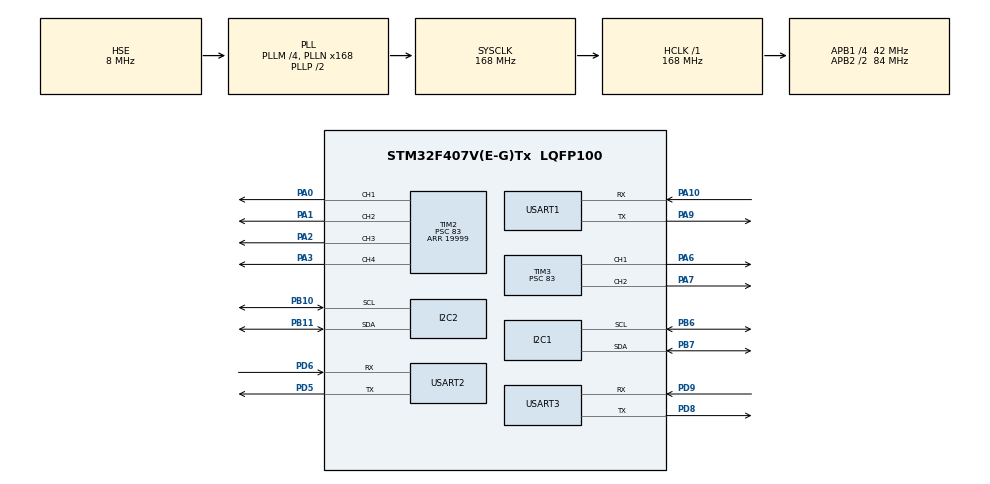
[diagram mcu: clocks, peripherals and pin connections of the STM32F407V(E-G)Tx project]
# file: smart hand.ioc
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FREERTOS.Tasks01=defaultTask,24,128,StartDefaultTask,Default,NULL,Dynamic,NULL,NULL
I2C1.I2C_Mode=I2C_Fast
Mcu.Family=STM32F4
Mcu.Name=STM32F407V(E-G)Tx
Mcu.Package=LQFP100
NVIC.PriorityGroup=NVIC_PRIORITYGROUP_4
NVIC.TIM4_IRQn=true\:15\:0\:false\:false\:true\:false\:false\:true\:true
NVIC.TimeBase=TIM4_IRQn
NVIC.TimeBaseIP=TIM4
PA0-WKUP.Signal=S_TIM2_CH1_ETR
PA1.Signal=S_TIM2_CH2
PA10.Mode=Asynchronous
PA10.Signal=USART1_RX
PA13.Mode=Serial_Wire
PA13.Signal=SYS_JTMS-SWDIO
PA14.Mode=Serial_Wire
PA14.Signal=SYS_JTCK-SWCLK
PA2.Signal=S_TIM2_CH3
PA3.Signal=S_TIM2_CH4
PA6.Signal=S_TIM3_CH1
PA7.Signal=S_TIM3_CH2
PA9.Mode=Asynchronous
PA9.Signal=USART1_TX
PB10.Mode=I2C
PB10.Signal=I2C2_SCL
PB11.Mode=I2C
PB11.Signal=I2C2_SDA
PB6.Mode=I2C
PB6.Signal=I2C1_SCL
PB7.Mode=I2C
PB7.Signal=I2C1_SDA
PC14-OSC32_IN.Mode=LSE-External-Oscillator
PC14-OSC32_IN.Signal=RCC_OSC32_IN
PC15-OSC32_OUT.Mode=LSE-External-Oscillator
PC15-OSC32_OUT.Signal=RCC_OSC32_OUT
PD5.Mode=Asynchronous
PD5.Signal=USART2_TX
PD6.Mode=Asynchronous
PD6.Signal=USART2_RX
PD8.Mode=Asynchronous
PD8.Signal=USART3_TX
PD9.Mode=Asynchronous
PD9.Signal=USART3_RX
PH0-OSC_IN.Mode=HSE-External-Oscillator
PH0-OSC_IN.Signal=RCC_OSC_IN
PH1-OSC_OUT.Mode=HSE-External-Oscillator
PH1-OSC_OUT.Signal=RCC_OSC_OUT
ProjectManager.HeapSize=0x200
ProjectManager.StackSize=0x400
ProjectManager.TargetToolchain=MDK-ARM V5.32
RCC.48MHZClocksFreq_Value=84000000
RCC.AHBFreq_Value=168000000
RCC.APB1CLKDivider=RCC_HCLK_DIV4
RCC.APB1Freq_Value=42000000
RCC.APB1TimFreq_Value=84000000
RCC.APB2CLKDivider=RCC_HCLK_DIV2
RCC.APB2Freq_Value=84000000
RCC.APB2TimFreq_Value=168000000
RCC.CortexFreq_Value=168000000
RCC.HCLKFreq_Value=168000000
RCC.HSE_VALUE=8000000
RCC.HSI_VALUE=16000000
RCC.PLLM=4
RCC.PLLN=168
RCC.PLLSourceVirtual=RCC_PLLSOURCE_HSE
RCC.SYSCLKFreq_VALUE=168000000
RCC.SYSCLKSource=RCC_SYSCLKSOURCE_PLLCLK
RCC.VCOOutputFreq_Value=336000000
SH.S_TIM2_CH1_ETR.0=TIM2_CH1,PWM Generation1 CH1
SH.S_TIM2_CH2.0=TIM2_CH2,PWM Generation2 CH2
SH.S_TIM2_CH3.0=TIM2_CH3,PWM Generation3 CH3
SH.S_TIM2_CH4.0=TIM2_CH4,PWM Generation4 CH4
SH.S_TIM3_CH1.0=TIM3_CH1,PWM Generation1 CH1
SH.S_TIM3_CH2.0=TIM3_CH2,PWM Generation2 CH2
TIM2.Channel-PWM\ Generation1\ CH1=TIM_CHANNEL_1
TIM2.Channel-PWM\ Generation2\ CH2=TIM_CHANNEL_2
TIM2.Channel-PWM\ Generation3\ CH3=TIM_CHANNEL_3
TIM2.Channel-PWM\ Generation4\ CH4=TIM_CHANNEL_4
TIM2.Period=19999
TIM2.Prescaler=83
TIM2.Pulse-PWM\ Generation1\ CH1=1500
TIM2.Pulse-PWM\ Generation2\ CH2=1500
TIM2.Pulse-PWM\ Generation3\ CH3=1500
TIM2.Pulse-PWM\ Generation4\ CH4=1500
TIM3.Channel-PWM\ Generation1\ CH1=TIM_CHANNEL_1
TIM3.Channel-PWM\ Generation2\ CH2=TIM_CHANNEL_2
TIM3.Period=19999
TIM3.Prescaler=83
TIM3.Pulse-PWM\ Generation1\ CH1=1500
TIM3.Pulse-PWM\ Generation2\ CH2=1500
USART1.VirtualMode=VM_ASYNC
USART2.VirtualMode=VM_ASYNC
USART3.VirtualMode=VM_ASYNC
VP_FREERTOS_VS_CMSIS_V2.Mode=CMSIS_V2
VP_SYS_VS_tim4.Mode=TIM4
VP_TIM2_VS_ClockSourceINT.Mode=Internal
VP_TIM3_VS_ClockSourceINT.Mode=Internal
board=custom

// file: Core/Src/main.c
/* USER CODE BEGIN Header */
/**
 ******************************************************************************
 * @file           : main.c
 * @brief          : 六轴机械臂主程序（STM32F407VET6 + FreeRTOS/CMSIS-RTOS2）
 ******************************************************************************
 * 结构：初始化在本文件里一次做完，之后交给 freertos.c 里的四个任务：
 *
 *   每 5ms   netTask      NetLink_Poll()        解析 ESP32-S3 发来的串口命令
 *   每 20ms  gestureTask  MPU6050_GestureStep() 读姿态并换算成目标角度（远程模式自动跳过）
 *   每 20ms  armTask      RobotArm_Update()     梯形速度插值 → 写 CCR → PWM
 *   每 100ms oledTask     OLED_StatusTask()     刷状态屏（链路/模式/角度/姿态）
 *
 * 上电顺序：串口 → OLED → 六路 PWM 分时软启动 + 回中位(1.5s) → MPU6050 校准
 *           （传感器没接时会每秒重试，期间机械臂照常接受网络命令）
 ******************************************************************************
 */
/* USER CODE END Header */
#include "main.h"
#include "cmsis_os.h"
#include "i2c.h"
#include "tim.h"
#include "usart.h"
#include "gpio.h"

/* USER CODE BEGIN Includes */
#include "RobotArm.h"
#include "MPU6050.h"
#include "NetLink.h"
#include "OLED.h"
#include "Param.h"
#include "Backup.h"
/* USER CODE END Includes */

void SystemClock_Config(void);
void MX_FREERTOS_Init(void);

int main(void) {
    /* USER CODE BEGIN 1 */
    /* IAP：应用被引导程序拷到 0x08010000，中断向量表必须跟着搬。
       这一行要放在 HAL_Init() 之前（HAL_Init 里会开中断），否则第一次中断会跳到引导程序的向量。 */
    SCB->VTOR = 0x08010000U;

    /* USER CODE END 1 */

    /* MCU Configuration--------------------------------------------------------*/

    /* Reset of all peripherals, Initializes the Flash interface and the Systick. */
    HAL_Init();

    /* Configure the system clock */
    SystemClock_Config();

    /* Initialize all configured peripherals */
    MX_GPIO_Init();
    MX_TIM3_Init();
    MX_I2C2_Init();
    MX_TIM2_Init();
    MX_USART1_UART_Init();
    MX_USART2_UART_Init();
    MX_USART3_UART_Init();
    MX_I2C1_Init();
    /* USER CODE BEGIN 2 */

    /* 0. 串口链路（ESP32-S3）：USART1 异步 115200 + DMA2_Stream2 循环接收。
     *    先开它，这样即使后面回中位要 2 秒多，上位机发的命令也不会丢（DMA 缓冲着）。 */
    NetLink_Init();

    /* 0.5 OLED 状态屏（I2C1，PB6/PB7）：屏没接也不影响机械臂，只是不显示 */
    (void)OLED_Init();

    /* 0.8 从板载 W25Q16 读回标定表/速度（没有芯片或数据无效就用默认值，
     *     不影响后续流程）。放在 RobotArm_Init 之前，这样回中位就已经按标定走。 */
    (void)Param_Init();

    /* 0.9 固件备份区（W25Q16）：读备份头，供"新固件起不来就回滚"用。
     *     没插芯片时返回 1，健康印章照样会盖（只是没法回滚），其余功能不受影响。 */
    (void)Backup_Init();

    /* 1. 六路 PWM 分时软启动（每路间隔 200ms，避免 6 个舵机同时启动的冲击电流）
     * 2. 在 1.5s 内线性插值把六轴送回中位 90°（阻塞，走完才继续） */
    RobotArm_Init();

    /* 3. MPU6050 初始化 + 陀螺零偏校准（约 0.4s，此时传感器要静止）
     * 4. 把当前姿势记为体感中位基准（约 0.2s，期间不要动）+ 夹爪张开
     * 传感器没接好时每秒重试一次，期间照常响应网络命令（不会死机跑飞） */
    while (MPU6050_GestureInit() != 0) {
        uint8_t k;

        /* 约 1s，期间保持 20ms 拍子服务网络命令 */
        for (k = 0; k < 50U; k++) {
            NetLink_Poll();
            RobotArm_Update();
            HAL_Delay(20);
        }
    }

    /* 丢掉启动期间积压的串口数据，从干净状态开始解析 */
    NetLink_Flush();
    /* USER CODE END 2 */

    /* Init scheduler */
    osKernelInitialize(); /* Call init function for freertos objects (in cmsis_os2.c) */
    MX_FREERTOS_Init();

    /* Start scheduler */
    osKernelStart();

    /* We should never get here as control is now taken by the scheduler */

    /* Infinite loop */
    while (1) {

        /* USER CODE BEGIN 3 */
        /* 调度器已经接管：这里永远不会执行到。
         * 四个任务的节拍在 freertos.c 里（5ms/20ms/20ms/100ms）。 */
        osDelay(1000);
    }
    /* USER CODE END 3 */
}

void SystemClock_Config(void) {
    RCC_OscInitTypeDef RCC_OscInitStruct = {0};
    RCC_ClkInitTypeDef RCC_ClkInitStruct = {0};

    /** Configure the main internal regulator output voltage
     */
    __HAL_RCC_PWR_CLK_ENABLE();
    __HAL_PWR_VOLTAGESCALING_CONFIG(PWR_REGULATOR_VOLTAGE_SCALE1);

    /** Initializes the RCC Oscillators according to the specified parameters
     * in the RCC_OscInitTypeDef structure.
     */
    RCC_OscInitStruct.OscillatorType = RCC_OSCILLATORTYPE_HSE;
    RCC_OscInitStruct.HSEState = RCC_HSE_ON;
    RCC_OscInitStruct.PLL.PLLState = RCC_PLL_ON;
    RCC_OscInitStruct.PLL.PLLSource = RCC_PLLSOURCE_HSE;
    RCC_OscInitStruct.PLL.PLLM = 4;
    RCC_OscInitStruct.PLL.PLLN = 168;
    RCC_OscInitStruct.PLL.PLLP = RCC_PLLP_DIV2;
    RCC_OscInitStruct.PLL.PLLQ = 4;
    if (HAL_RCC_OscConfig(&RCC_OscInitStruct) != HAL_OK) {
        Error_Handler();
    }

    /** Initializes the CPU, AHB and APB buses clocks
     */
    RCC_ClkInitStruct.ClockType =
        RCC_CLOCKTYPE_HCLK | RCC_CLOCKTYPE_SYSCLK | RCC_CLOCKTYPE_PCLK1 | RCC_CLOCKTYPE_PCLK2;
    RCC_ClkInitStruct.SYSCLKSource = RCC_SYSCLKSOURCE_PLLCLK;
    RCC_ClkInitStruct.AHBCLKDivider = RCC_SYSCLK_DIV1;
    RCC_ClkInitStruct.APB1CLKDivider = RCC_HCLK_DIV4;
    RCC_ClkInitStruct.APB2CLKDivider = RCC_HCLK_DIV2;

    if (HAL_RCC_ClockConfig(&RCC_ClkInitStruct, FLASH_LATENCY_5) != HAL_OK) {
        Error_Handler();
    }
}

void HAL_TIM_PeriodElapsedCallback(TIM_HandleTypeDef *htim) {
    if (htim->Instance == TIM4) {
        HAL_IncTick();
    }
}

void Error_Handler(void) {
    __disable_irq();
    while (1) {
    }
}

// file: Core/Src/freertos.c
/* USER CODE BEGIN Header */
/**
 ******************************************************************************
 * File Name          : freertos.c
 * Description        : Code for freertos applications
 ******************************************************************************
 * @attention
 *
 * Copyright (c) 2026 STMicroelectronics.
 * All rights reserved.
 *
 * This software is licensed under terms that can be found in the LICENSE file
 * in the root directory of this software component.
 * If no LICENSE file comes with this software, it is provided AS-IS.
 *
 ******************************************************************************
 */
/* USER CODE END Header */

#include "FreeRTOS.h"
#include "task.h"
#include "main.h"
#include "cmsis_os.h"

/* USER CODE BEGIN Includes */
#include "RobotArm.h"
#include "MPU6050.h"
#include "NetLink.h"
#include "OLED.h"
#include "Watchdog.h"
#include "Backup.h"
/* USER CODE END Includes */

/* USER CODE BEGIN PD */
#define ARM_TASK_PERIOD_MS ROBOTARM_TICK_MS /* 10ms：PWM 插值硬节拍（100Hz） */
#define GESTURE_TASK_PERIOD_MS 20U          /* 50Hz：体感采样 */
#define NET_TASK_PERIOD_MS 5U               /* 串口命令解析：5ms 一拍，命令下发更跟手 */
#define OLED_TASK_PERIOD_MS 100U            /* 10Hz：状态画面刷新 */

#define ARM_TASK_STACK 192U     /* 单位：字（4 字节） */
#define GESTURE_TASK_STACK 384U /* 浮点解算 + HAL I2C，留足余量 */
#define NET_TASK_STACK 384U
#define OLED_TASK_STACK 320U /* vsnprintf + 1KB 显存操作 */
/* USER CODE END PD */

/* USER CODE BEGIN Variables */
/* ---- 四个应用任务 ----
 * armTask     ：最高优先级，只做 RobotArm_Update()，20ms 一拍输出 PWM
 *               （I2C 读传感器、串口解析都在别的任务里，不能拖累它）
 * gestureTask：50Hz 读 MPU6050 → 映射关节 → 写目标角度（远程模式下自动跳过）
 * netTask    ：解析 USART1(DMA) 收到的 ESP32-S3 命令 → 改目标角度
 * oledTask   ：10Hz 刷 OLED（最低优先级，空闲时才跑）
 */
static osThreadId_t armTaskHandle;
static osThreadId_t gestureTaskHandle;
static osThreadId_t netTaskHandle;
static osThreadId_t oledTaskHandle;
static osThreadId_t wdTaskHandle;

static const osThreadAttr_t armTask_attributes = {
    .name = "armTask",
    .stack_size = ARM_TASK_STACK * 4,
    .priority = (osPriority_t)osPriorityAboveNormal,
};

static const osThreadAttr_t gestureTask_attributes = {
    .name = "gestureTask",
    .stack_size = GESTURE_TASK_STACK * 4,
    .priority = (osPriority_t)osPriorityNormal,
};

static const osThreadAttr_t netTask_attributes = {
    .name = "netTask",
    .stack_size = NET_TASK_STACK * 4,
    .priority = (osPriority_t)osPriorityNormal,
};

static const osThreadAttr_t oledTask_attributes = {
    .name = "oledTask",
    .stack_size = OLED_TASK_STACK * 4,
    .priority = (osPriority_t)osPriorityLow,
};

/* 看门狗任务：优先级最低（只喂狗，绝不抢运动任务的 CPU） */
static const osThreadAttr_t wdTask_attributes = {
    .name = "wdTask",
    .stack_size = 256 * 4,
    .priority = (osPriority_t)osPriorityLow,
};
/* USER CODE END Variables */
/* USER CODE BEGIN FunctionPrototypes */
static void ArmTask(void *argument);
static void GestureTask(void *argument);
static void NetTask(void *argument);
static void OledTask(void *argument);
static void WdTask(void *argument);
/* USER CODE END FunctionPrototypes */

void MX_FREERTOS_Init(void); /* (MISRA C 2004 rule 8.1) */

void MX_FREERTOS_Init(void) {

    /* USER CODE BEGIN RTOS_MUTEX */
    /* 目标角度由 gestureTask / netTask 写，armTask 读，用互斥量保护 */
    RobotArm_CreateLock();
    /* USER CODE END RTOS_MUTEX */

    /* Create the thread(s) */
    /* USER CODE BEGIN RTOS_THREADS */
    /* add threads, ... */
    armTaskHandle = osThreadNew(ArmTask, NULL, &armTask_attributes);
    gestureTaskHandle = osThreadNew(GestureTask, NULL, &gestureTask_attributes);
    netTaskHandle = osThreadNew(NetTask, NULL, &netTask_attributes);
    oledTaskHandle = osThreadNew(OledTask, NULL, &oledTask_attributes);
    wdTaskHandle = osThreadNew(WdTask, NULL, &wdTask_attributes);
    (void)armTaskHandle;
    (void)gestureTaskHandle;
    (void)netTaskHandle;
    (void)oledTaskHandle;
    (void)wdTaskHandle;
    /* USER CODE END RTOS_THREADS */

}

/* USER CODE BEGIN Application */

/* ---- 出错保护 -------------------------------------------------------------
 * FreeRTOS 钩子：栈溢出 / 堆不够时不让系统带着坏状态继续跑舵机。
 * 停在这里（中断关闭）方便用调试器看是谁溢出了。
 */
void vApplicationStackOverflowHook(TaskHandle_t xTask, char *pcTaskName) {
    (void)xTask;
    (void)pcTaskName;
    taskDISABLE_INTERRUPTS();
    for (;;) {
    }
}

void vApplicationMallocFailedHook(void) {
    taskDISABLE_INTERRUPTS();
    for (;;) {
    }
}

/**
 * @brief 计算本周期的唤醒 tick；如果已经落后（上一拍超时），就重新对齐，
 *        不做“追赶式”连续执行，保证节奏稳定不抖
 */
static uint32_t NextWake(uint32_t wake, uint32_t period_ms) {
    uint32_t now = osKernelGetTickCount();

    wake += period_ms;
    if ((int32_t)(wake - now) <= 0) {
        wake = now + period_ms;
    }
    return wake;
}

/**
 * @brief 舵机 PWM 插值任务（20ms 硬节拍）
 * @note  优先级最高，且只做寄存器级输出，绝不做 I2C/串口/打印，
 *        这样 6 路舵机每次走多少、什么时候走，完全确定。
 */
static void ArmTask(void *argument) {
    uint32_t wake = osKernelGetTickCount();

    (void)argument;

    for (;;) {
        RobotArm_Update(); /* 梯形加减速逼近目标 + 写 CCR */
        Watchdog_KeepAlive(WD_TASK_ARM);
        wake = NextWake(wake, ARM_TASK_PERIOD_MS);
        (void)osDelayUntil(wake);
    }
}

/**
 * @brief 体感任务（50Hz）：读 MPU6050 → 映射 6 个关节 → 写目标角度
 * @note  I2C 一次突发读 14 字节，100kHz 下约 1.6ms，允许被 ArmTask 抢占
 */
static void GestureTask(void *argument) {
    uint32_t wake = osKernelGetTickCount();

    (void)argument;

    for (;;) {
        MPU6050_GestureStep();
        Watchdog_KeepAlive(WD_TASK_GESTURE);
        wake = NextWake(wake, GESTURE_TASK_PERIOD_MS);
        (void)osDelayUntil(wake);
    }
}

/**
 * @brief 网络任务：解析 USART1(DMA) 收到的 ESP32-S3 命令
 * @note  NetLink_Poll 内部只在 DMA 环形缓冲上推进读指针，不阻塞
 */
static void NetTask(void *argument) {
    (void)argument;

    for (;;) {
        NetLink_Poll();
        Watchdog_KeepAlive(WD_TASK_NET);
        (void)osDelay(NET_TASK_PERIOD_MS);
    }
}

/**
 * @brief OLED 状态监视任务（10Hz）
 * @note  优先级最低，只在 CPU 空闲时刷屏；屏没接时 OLED_StatusTask 直接返回
 */
static void OledTask(void *argument) {
    uint32_t wake = osKernelGetTickCount();

    (void)argument;

    for (;;) {
        OLED_StatusTask();
        Watchdog_KeepAlive(WD_TASK_OLED);
        wake = NextWake(wake, OLED_TASK_PERIOD_MS);
        (void)osDelayUntil(wake);
    }
}

/**
 * @brief 看门狗任务：四个任务都按时报到才喂狗
 * @note  给 2s 启动宽限（上电时主线程还在做舵机软启动和回中位），
 *        之后每 200ms 检查一次；任何一个任务超期就不再喂狗，让 IWDG 复位。
 */
static void WdTask(void *argument) {
    uint32_t wake = osKernelGetTickCount();
    uint8_t healthy_done = 0U;

    (void)argument;

    (void)osDelay(pdMS_TO_TICKS(2000));
    Watchdog_Start();

    for (;;) {
        if (Watchdog_AllAlive()) {
            Watchdog_Feed();
        }

        /* 启动健康上报：跑满 3 秒说明各任务都起来了，先盖 "SEAL" 印章
         * （引导程序据此把启动计数归零），再等机械臂停稳把当前镜像备份到 W25Q16。
         * 分数次喂给低优先级任务做，不阻塞舵机节拍。 */
        if (!healthy_done && osKernelGetTickCount() > 3000U) {
            Watchdog_Feed();
            if (Backup_Healthy() != 0U) {
                healthy_done = 1U;
            }
        }

        wake = NextWake(wake, 200U);
        (void)osDelayUntil(wake);
    }
}

/* USER CODE END Application */
